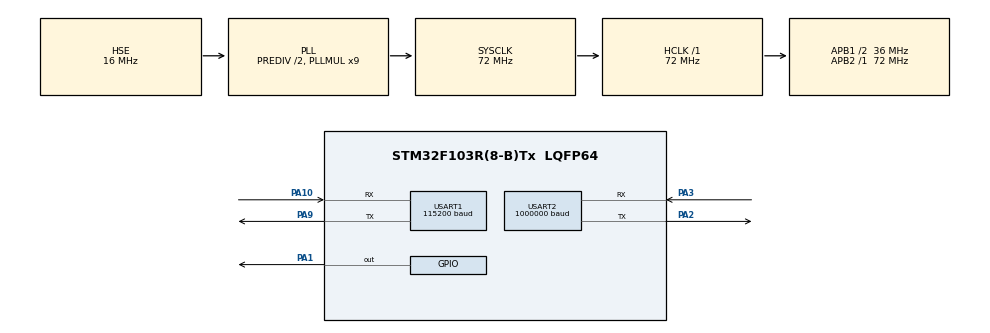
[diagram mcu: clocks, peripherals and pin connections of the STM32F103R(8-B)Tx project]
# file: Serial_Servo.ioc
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Dma.Request0=USART2_RX
Dma.USART2_RX.0.Direction=DMA_PERIPH_TO_MEMORY
Dma.USART2_RX.0.Instance=DMA1_Channel6
Dma.USART2_RX.0.MemDataAlignment=DMA_MDATAALIGN_BYTE
Dma.USART2_RX.0.MemInc=DMA_MINC_ENABLE
Dma.USART2_RX.0.Mode=DMA_CIRCULAR
Dma.USART2_RX.0.PeriphDataAlignment=DMA_PDATAALIGN_BYTE
Dma.USART2_RX.0.PeriphInc=DMA_PINC_DISABLE
Dma.USART2_RX.0.Priority=DMA_PRIORITY_HIGH
Mcu.Family=STM32F1
Mcu.Name=STM32F103R(8-B)Tx
Mcu.Package=LQFP64
NVIC.DMA1_Channel6_IRQn=true\:0\:0\:false\:false\:true\:false\:true\:true
NVIC.PriorityGroup=NVIC_PRIORITYGROUP_4
NVIC.USART1_IRQn=true\:0\:0\:false\:true\:true\:2\:true\:true\:true
NVIC.USART2_IRQn=true\:0\:0\:false\:false\:true\:true\:true\:true
PA1.Signal=GPIO_Output
PA10.Mode=Asynchronous
PA10.Signal=USART1_RX
PA13.Mode=Serial_Wire
PA13.Signal=SYS_JTMS-SWDIO
PA14.Mode=Serial_Wire
PA14.Signal=SYS_JTCK-SWCLK
PA2.Mode=Asynchronous
PA2.Signal=USART2_TX
PA3.Mode=Asynchronous
PA3.Signal=USART2_RX
PA9.Mode=Asynchronous
PA9.Signal=USART1_TX
PD0-OSC_IN.Mode=HSE-External-Oscillator
PD0-OSC_IN.Signal=RCC_OSC_IN
PD1-OSC_OUT.Mode=HSE-External-Oscillator
PD1-OSC_OUT.Signal=RCC_OSC_OUT
ProjectManager.HeapSize=0x200
ProjectManager.StackSize=0x400
ProjectManager.TargetToolchain=MDK-ARM V5.32
RCC.AHBFreq_Value=72000000
RCC.APB1CLKDivider=RCC_HCLK_DIV2
RCC.APB1Freq_Value=36000000
RCC.APB1TimFreq_Value=72000000
RCC.APB2Freq_Value=72000000
RCC.APB2TimFreq_Value=72000000
RCC.HCLKFreq_Value=72000000
RCC.HSEDivPLL=RCC_HSE_PREDIV_DIV2
RCC.HSE_VALUE=16000000
RCC.PLLMUL=RCC_PLL_MUL9
RCC.PLLSourceVirtual=RCC_PLLSOURCE_HSE
RCC.SYSCLKFreq_VALUE=72000000
RCC.SYSCLKSource=RCC_SYSCLKSOURCE_PLLCLK
RCC.USBFreq_Value=72000000
USART1.BaudRate=115200
USART1.VirtualMode=VM_ASYNC
USART2.BaudRate=1000000
USART2.VirtualMode=VM_ASYNC
board=custom

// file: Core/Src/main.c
/* USER CODE BEGIN Header */
/**
  ******************************************************************************
  * @file           : main.c
  * @brief          : Main program body
  ******************************************************************************
  * @attention
  *
  * Copyright (c) 2025 STMicroelectronics.
  * All rights reserved.
  *
  * This software is licensed under terms that can be found in the LICENSE file
  * in the root directory of this software component.
  * If no LICENSE file comes with this software, it is provided AS-IS.
  *
  ******************************************************************************
  */
/* USER CODE END Header */
#include "main.h"
#include "dma.h"
#include "usart.h"
#include "gpio.h"

/* USER CODE BEGIN Includes */
#include "HX_30HM.h"
#include "stdio.h"
#include "stdint.h"
#include "Packet_Handler.h"
/* USER CODE END Includes */

/* USER CODE BEGIN PD */
#define exp 5
/* USER CODE END PD */

/* USER CODE BEGIN PV */
ServoStatus_t status;

int16_t write_pos = 4096;
int16_t read_pos = 4096;

int16_t write_pos_offset = 100;
int16_t read_pos_offset;

uint8_t write_acc = 100;

int16_t write_speed = 1000;
int16_t read_speed;

int16_t write_pwm_speed = 1000;

uint16_t write_torque = 100;

int16_t sync_write1[2][4] = {{1, 0, 1000, 4095},
							{2, 0, 1000, 4095}};
uint8_t read_id[] = {1, 2};
int16_t sync_read_data[2][5];

uint8_t temp;
uint8_t vol;
uint16_t cur;
int16_t read_load;
uint8_t moving_status;

uint8_t info_buf[255]= {0};
/* USER CODE END PV */

void SystemClock_Config(void);
static void MX_NVIC_Init(void);

int main(void)
{

  /* MCU Configuration--------------------------------------------------------*/

  /* Reset of all peripherals, Initializes the Flash interface and the Systick. */
  HAL_Init();

  /* Configure the system clock */
  SystemClock_Config();

  /* Initialize all configured peripherals */
  MX_GPIO_Init();
  MX_DMA_Init();
  MX_USART1_UART_Init();
  MX_USART2_UART_Init();

  /* Initialize interrupts */
  MX_NVIC_Init();
  /* USER CODE BEGIN 2 */
  servo_init();

#if (exp == 1)
	status = servo_ping(0xFE);

	sprintf((char *)info_buf,"TX:%X %X %X %X %X %X\r\n",servo_packet.tx.header_1,\
	                                            servo_packet.tx.header_2,\
																							servo_packet.tx.elements.id,\
																							servo_packet.tx.elements.length,\
																							servo_packet.tx.elements.cmd,\
																							servo_packet.tx.elements.args[servo_packet.tx.elements.length - 2]\
																							);
	serial_printf_string(info_buf);

	sprintf((char *)info_buf,"RX:%X %X %X %X %X %X\r\n",servo_packet.rx.header_1,\
	                                            servo_packet.rx.header_2,\
																							servo_packet.rx.elements.id,\
																							servo_packet.rx.elements.length,\
																							servo_packet.rx.elements.cmd,\
																							servo_packet.rx.elements.args[servo_packet.rx.elements.length - 2]\
																							);
	serial_printf_string(info_buf);

	sprintf((char *)info_buf,"ID:%X\r\n",status.id);
	serial_printf_string(info_buf);

	sprintf((char *)info_buf,"statu:%X\r\n",status.error_byte);
	serial_printf_string(info_buf);

#elif(exp == 2)
	status = servo_read_pos(1, &read_pos);

	sprintf((char *)info_buf,"TX:%X %X %X %X %X %X %X %X\r\n",servo_packet.tx.header_1,\
	                                            servo_packet.tx.header_2,\
																							servo_packet.tx.elements.id,\
																							servo_packet.tx.elements.length,\
																							servo_packet.tx.elements.cmd,\
																							servo_packet.tx.elements.args[0],\
																							servo_packet.tx.elements.args[1],\
																							servo_packet.tx.elements.args[servo_packet.tx.elements.length - 2]\
																							);
	serial_printf_string(info_buf);

	sprintf((char *)info_buf,"RX:%X %X %X %X %X %X %X %X\r\n",servo_packet.rx.header_1,\
	                                            servo_packet.rx.header_2,\
																							servo_packet.rx.elements.id,\
																							servo_packet.rx.elements.length,\
																							servo_packet.rx.elements.cmd,\
																							servo_packet.rx.elements.args[0],\
																							servo_packet.rx.elements.args[1],\
																							servo_packet.rx.elements.args[servo_packet.rx.elements.length - 2]\
																							);
	serial_printf_string(info_buf);

	sprintf((char *)info_buf,"Position:%hu\r\n",read_pos);
	serial_printf_string(info_buf);

#elif(exp == 3)
	status = servo_write_pos(1, write_pos);

	sprintf((char *)info_buf,"TX:%X %X %X %X %X %X %X %X %X\r\n",servo_packet.tx.header_1,\
	                                            servo_packet.tx.header_2,\
																							servo_packet.tx.elements.id,\
																							servo_packet.tx.elements.length,\
																							servo_packet.tx.elements.cmd,\
																							servo_packet.tx.elements.args[0],\
																							servo_packet.tx.elements.args[1],\
																							servo_packet.tx.elements.args[2],\
																							servo_packet.tx.elements.args[servo_packet.tx.elements.length - 2]\
																							);
	serial_printf_string(info_buf);

	sprintf((char *)info_buf,"RX:%X %X %X %X %X %X\r\n",servo_packet.rx.header_1,\
	                                            servo_packet.rx.header_2,\
																							servo_packet.rx.elements.id,\
																							servo_packet.rx.elements.length,\
																							servo_packet.rx.elements.cmd,\
																							servo_packet.rx.elements.args[servo_packet.rx.elements.length - 2]\
																							);
	serial_printf_string(info_buf);

	sprintf((char *)info_buf,"Target_Position:%hu\r\n",write_pos);
	serial_printf_string(info_buf);

#elif(exp == 4)
	// 向1号舵机指定寄存器地址写入加速度、速度和位置信息（暂不执行，需调用action触发） (Write acceleration, speed, and position information to servo register address)
	status = servo_write_reg_pos_ex(1, write_acc, write_speed, write_pos);

	sprintf((char *)info_buf,"TX:%X %X %X %X %X %X %X %X %X %X %X %X %X %X %X\r\n",servo_packet.tx.header_1,\
	                                            servo_packet.tx.header_2,\
																							servo_packet.tx.elements.id,\
																							servo_packet.tx.elements.length,\
																							servo_packet.tx.elements.cmd,\
																							servo_packet.tx.elements.args[0],\
																							servo_packet.tx.elements.args[1],\
																							servo_packet.tx.elements.args[2],\
																							servo_packet.tx.elements.args[3],\
																							servo_packet.tx.elements.args[4],\
																							servo_packet.tx.elements.args[5],\
																							servo_packet.tx.elements.args[6],\
																							servo_packet.tx.elements.args[7],\
																							servo_packet.tx.elements.args[8],\
																							servo_packet.tx.elements.args[servo_packet.tx.elements.length - 2]\
																							);
	serial_printf_string(info_buf);

	sprintf((char *)info_buf,"RX:%X %X %X %X %X %X\r\n",servo_packet.rx.header_1,\
	                                            servo_packet.rx.header_2,\
																							servo_packet.rx.elements.id,\
																							servo_packet.rx.elements.length,\
																							servo_packet.rx.elements.cmd,\
																							servo_packet.rx.elements.args[servo_packet.rx.elements.length - 2]\
																							);
	serial_printf_string(info_buf);

	// 执行1号的舵机动作指令 (Execute servo action instruction)
	status = servo_reg_action(1);

	sprintf((char *)info_buf,"TX:%X %X %X %X %X %X\r\n",servo_packet.tx.header_1,\
	                                            servo_packet.tx.header_2,\
																							servo_packet.tx.elements.id,\
																							servo_packet.tx.elements.length,\
																							servo_packet.tx.elements.cmd,\
																							servo_packet.tx.elements.args[servo_packet.tx.elements.length - 2]\
																							);
	serial_printf_string(info_buf);

	sprintf((char *)info_buf,"RX:%X %X %X %X %X %X\r\n",servo_packet.rx.header_1,\
	                                            servo_packet.rx.header_2,\
																							servo_packet.rx.elements.id,\
																							servo_packet.rx.elements.length,\
																							servo_packet.rx.elements.cmd,\
																							servo_packet.rx.elements.args[servo_packet.rx.elements.length - 2]\
																							);
	serial_printf_string(info_buf);

	sprintf((char *)info_buf,"Target_Acc:%hu,Target_Speed:%hu,Target_Pos:%hu\r\n",write_acc, write_speed, write_pos);
	serial_printf_string(info_buf);

#elif(exp == 5)
	// 向1号和2号舵机同时写入加速度、速度和位置信息 (Write acceleration, speed, and position information to servo 1 and 2 simultaneously)
	status = servo_sync_write_pos_ex(sync_write1, 2);

	sprintf((char *)info_buf,"TX:%X %X %X %X %X %X %X %X %X %X %X %X %X %X %X %X %X %X %X %X %X\r\n",servo_packet.tx.header_1,\
	                                            servo_packet.tx.header_2,\
																							servo_packet.tx.elements.id,\
																							servo_packet.tx.elements.length,\
																							servo_packet.tx.elements.cmd,\
																							servo_packet.tx.elements.args[0],\
																							servo_packet.tx.elements.args[1],\

																							servo_packet.tx.elements.args[2],\
																							servo_packet.tx.elements.args[3],\
																							servo_packet.tx.elements.args[4],\
																							servo_packet.tx.elements.args[5],\
																							servo_packet.tx.elements.args[6],\
																							servo_packet.tx.elements.args[7],\
																							servo_packet.tx.elements.args[8],\
																							servo_packet.tx.elements.args[9],\
																							servo_packet.tx.elements.args[10],\

																							servo_packet.tx.elements.args[11],\
																							servo_packet.tx.elements.args[12],\
																							servo_packet.tx.elements.args[13],\
																							servo_packet.tx.elements.args[14],\
																							servo_packet.tx.elements.args[15],\
																							servo_packet.tx.elements.args[16],\
																							servo_packet.tx.elements.args[17],\
																							servo_packet.tx.elements.args[18],\
																							servo_packet.tx.elements.args[19],\
																							servo_packet.tx.elements.args[servo_packet.tx.elements.length - 2]\
																							);
	serial_printf_string(info_buf);

	sprintf((char *)info_buf,"ServoID:%hu,Target_Acc:%hu,Target_Speed:%hu,Target_Pos:%hu\r\n",sync_write1[0][0],sync_write1[0][1],\
																																														sync_write1[0][2],sync_write1[0][3]);
	serial_printf_string(info_buf);

	sprintf((char *)info_buf,"ServoID:%hu,Target_Acc:%hu,Target_Speed:%hu,Target_Pos:%hu\r\n",sync_write1[1][0],sync_write1[1][1],\
																																														sync_write1[1][2],sync_write1[1][3]);
	serial_printf_string(info_buf);

#elif(exp == 6)
	status = servo_select_mode(1, 0);

	sprintf((char *)info_buf,"TX:%X %X %X %X %X %X %X %X\r\n",servo_packet.tx.header_1,\
	                                            servo_packet.tx.header_2,\
																							servo_packet.tx.elements.id,\
																							servo_packet.tx.elements.length,\
																							servo_packet.tx.elements.cmd,\
																							servo_packet.tx.elements.args[0],\
																							servo_packet.tx.elements.args[1],\
																							servo_packet.tx.elements.args[servo_packet.tx.elements.length - 2]\
																							);
	serial_printf_string(info_buf);

	sprintf((char *)info_buf,"RX:%X %X %X %X %X %X\r\n",servo_packet.rx.header_1,\
	                                            servo_packet.rx.header_2,\
																							servo_packet.rx.elements.id,\
																							servo_packet.rx.elements.length,\
																							servo_packet.rx.elements.cmd,\
																							servo_packet.rx.elements.args[servo_packet.rx.elements.length - 2]\
																							);
	serial_printf_string(info_buf);

	sprintf((char *)info_buf,"Running_mode:0\r\n");
	serial_printf_string(info_buf);

#endif

//	status = servo_enable_torque(1);          // 启用1号的舵机的力矩输出 (Enable servo torque output)
//	status = servo_disable_torque(1);         // 禁用1号的舵机的力矩输出 (Disable servo torque output)
//	status = servo_cali_pos(1);               // 校准1号的当前舵机位置 (Calibrate servo position)
//
//	status = servo_select_mode(1, 0);         // 选择1号的舵机工作模式 (Select servo working mode)
//
//	status = servo_write_pos(1, write_pos);   // 设置1号的舵机目标位置 (Set servo target position)
//	status = servo_read_pos(1, &read_pos);    // 读取1号的舵机当前位置值 (Read servo current position value)
//
//	status = servo_write_pos_offset(1, write_pos_offset);  // 设置1号的舵机位置偏差 (Set servo position offset)
//	status = servo_read_pos_offset(1, &read_pos_offset);   // 读取1号的舵机位置偏差 (Read servo position offset)

//
//	status = servo_write_acc(1, write_acc);   // 设置1号的舵机加速度参数 (Set servo acceleration parameter)
//
//	status = servo_write_speed(1, write_speed); // 设置1号的舵机目标速度 (Set servo target speed)
//	status = servo_read_speed(1, &read_speed);  // 读取1号的舵机当前速度 (Read servo current speed)
//
//	status = servo_read_pos_speed(1, &read_pos, &read_speed); // 同时读取1号的舵机位置和速度 (Read servo position and speed)
//
//	status = servo_write_pos_ex(1, write_acc, write_speed, write_pos); // 扩展位置控制：同时设置1号的舵机加速度、速度和位置 (Extended position control: set servo acceleration, speed, and position simultaneously)
//	status = servo_write_pwm_speed(1, write_pwm_speed);     // 设置1号的舵机PWM速度（PWM模式下生效） (Set servo PWM speed (effective in PWM mode))
//	status = servo_write_max_torque(1, write_torque);       // 设置1号的舵机最大力矩限制 (Set servo maximum torque limit)
//	status = servo_write_reg_pos_ex(1, write_acc, write_speed, write_pos); // 向1号舵机指定寄存器地址写入加速度、速度和位置信息（暂不执行，需调用action触发） (Write acceleration, speed, and position information to servo register address)
//	status = servo_reg_action(1);               // 执行1号的舵机动作指令 (Execute servo action instruction)
//	status = servo_sync_write_pos_ex(sync_write1, 2);      // 向1号和2号舵机同时写入加速度、速度和位置信息 (Write acceleration, speed, and position information to servo 1 and 2 simultaneously)
//	status = servo_sync_read_cur_pos_ex(read_id, 2, sync_read_data);  // 同部读取1号和2号舵机加速度、速度和位置信息 (Read acceleration, speed, and position information from servo 1 and 2 simultaneously)
//
//	status = servo_read_temperture(1, &temp);   // 读取1号舵机温度值 (Read servo temperature value)
//	status = servo_read_voltage(1, &vol);       //  读取1号舵机电压值 (Read servo voltage value)
//	status = servo_read_current(1, &cur);       //  读取1号舵机电流值 (Read servo current value)
//	status = servo_read_load(1, &read_load);    //  读取1号舵机负载值 (Read servo load value)
//	status = servo_read_moving_status(1, &moving_status); //  读取1号舵机运动状态 (Read servo moving status)

  /* USER CODE END 2 */

  /* Infinite loop */
  while (1)
  {

  }
}

void SystemClock_Config(void)
{
  RCC_OscInitTypeDef RCC_OscInitStruct = {0};
  RCC_ClkInitTypeDef RCC_ClkInitStruct = {0};

  /** Initializes the RCC Oscillators according to the specified parameters
  * in the RCC_OscInitTypeDef structure.
  */
  RCC_OscInitStruct.OscillatorType = RCC_OSCILLATORTYPE_HSE;
  RCC_OscInitStruct.HSEState = RCC_HSE_ON;
  RCC_OscInitStruct.HSEPredivValue = RCC_HSE_PREDIV_DIV2;
  RCC_OscInitStruct.HSIState = RCC_HSI_ON;
  RCC_OscInitStruct.PLL.PLLState = RCC_PLL_ON;
  RCC_OscInitStruct.PLL.PLLSource = RCC_PLLSOURCE_HSE;
  RCC_OscInitStruct.PLL.PLLMUL = RCC_PLL_MUL9;
  if (HAL_RCC_OscConfig(&RCC_OscInitStruct) != HAL_OK)
  {
    Error_Handler();
  }

  /** Initializes the CPU, AHB and APB buses clocks
  */
  RCC_ClkInitStruct.ClockType = RCC_CLOCKTYPE_HCLK|RCC_CLOCKTYPE_SYSCLK
                              |RCC_CLOCKTYPE_PCLK1|RCC_CLOCKTYPE_PCLK2;
  RCC_ClkInitStruct.SYSCLKSource = RCC_SYSCLKSOURCE_PLLCLK;
  RCC_ClkInitStruct.AHBCLKDivider = RCC_SYSCLK_DIV1;
  RCC_ClkInitStruct.APB1CLKDivider = RCC_HCLK_DIV2;
  RCC_ClkInitStruct.APB2CLKDivider = RCC_HCLK_DIV1;

  if (HAL_RCC_ClockConfig(&RCC_ClkInitStruct, FLASH_LATENCY_2) != HAL_OK)
  {
    Error_Handler();
  }
}

/**
  * @brief NVIC Configuration.
  * @retval None
  */
static void MX_NVIC_Init(void)
{
  /* USART1_IRQn interrupt configuration */
  HAL_NVIC_SetPriority(USART1_IRQn, 0, 0);
  HAL_NVIC_EnableIRQ(USART1_IRQn);
}

void Error_Handler(void)
{
  __disable_irq();
  while (1)
  {
  }
}
